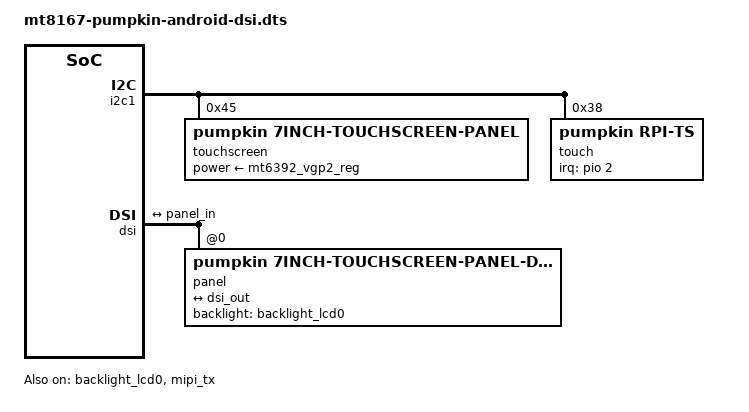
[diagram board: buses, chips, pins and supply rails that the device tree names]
/dts-v1/;
/plugin/;

#include <dt-bindings/clock/mt8167-clk.h>
#include <dt-bindings/interrupt-controller/arm-gic.h>
#include <dt-bindings/interrupt-controller/irq.h>

#include "mt8516-pinfunc.h"
#include "mt8167-pinfunc.h"

&reserved_memory {
	#address-cells = <2>;
	#size-cells = <2>;

	ramoops@43e00000 {
		compatible = "ramoops";
		reg = <0 0x43e00000 0 0x00100000>;
		record-size = <0x8000>;
		console-size = <0x8000>;
		ftrace-size = <0x0>;
		pmsg-size = <0x8000>;
	};
};

&pio {
	i2c1_pins_a: i2c1@0 {
		pins1 {
			pinmux = <MT8167_PIN_52_SDA1__FUNC_SDA1_0>,
				 <MT8167_PIN_53_SCL1__FUNC_SCL1_0>;
			bias-disable;
		};
	};

	panel_pins: panel_pins {
		pins {
			pinmux = <MT8167_PIN_66_LCM_RST__FUNC_GPIO66>,
				 <MT8167_PIN_67_DSI_TE__FUNC_GPIO67>;
			output-high;
		};
	};

	ts_pins: ts_pins {
		pins {
			pinmux = <MT8167_PIN_2_EINT2__FUNC_GPIO2>;
			input-enable;
			bias-pull-up;
		};
	};
};

&i2c1 {
	clock-div = <2>;
	pinctrl-names = "default";
	pinctrl-0 = <&i2c1_pins_a>;
	status = "okay";
	#address-cells = <1>;
	#size-cells = <0>;

	touchscreen: touchscreen@0 {
		compatible = "pumpkin,7inch-touchscreen-panel";
		reg = <0x45>;
		status = "okay";
		pinctrl-0 = <&panel_pins>;
		pinctrl-names = "default";
		power-supply = <&mt6392_vgp2_reg>;
	};

	touch: ft5x06@38 {
		compatible = "pumpkin,rpi-ts";
		reg = <0x38>;
		status = "okay";
		pinctrl-0 = <&ts_pins>;
		pinctrl-names = "default";
		interrupt-parent = <&pio>;
		interrupts = <2 IRQ_TYPE_EDGE_FALLING>;
		touchscreen-size-y = <480>;
		touchscreen-size-x = <800>;
		touchscreen-inverted-y = <1>;
		touchscreen-inverted-x = <1>;
	};
};

&backlight_lcd0{
	compatible = "raspberrypi,rpi-backlight";
	status = "okay";
};

&dsi {
	status = "okay";
	#address-cells = <1>;
	#size-cells = <0>;

	ports {
		#address-cells = <1>;
		#size-cells = <0>;
		port@0 {
			reg = <0>;

			dsi_out: endpoint {
				remote-endpoint = <&panel_in>;
			};
		};
	};

	panel@0 {
		compatible = "pumpkin,7inch-touchscreen-panel-dsi";
		reg = <0>;
		pumpkin,touchscreen = <&touchscreen>;
		backlight = <&backlight_lcd0>;

		port {
			panel_in: endpoint {
				remote-endpoint = <&dsi_out>;
			};
		};
	};
};

&mipi_tx {
	status = "okay";
};

&hdmi {
	status = "disabled";
};

&dpi1 {
	status = "disabled";
};
